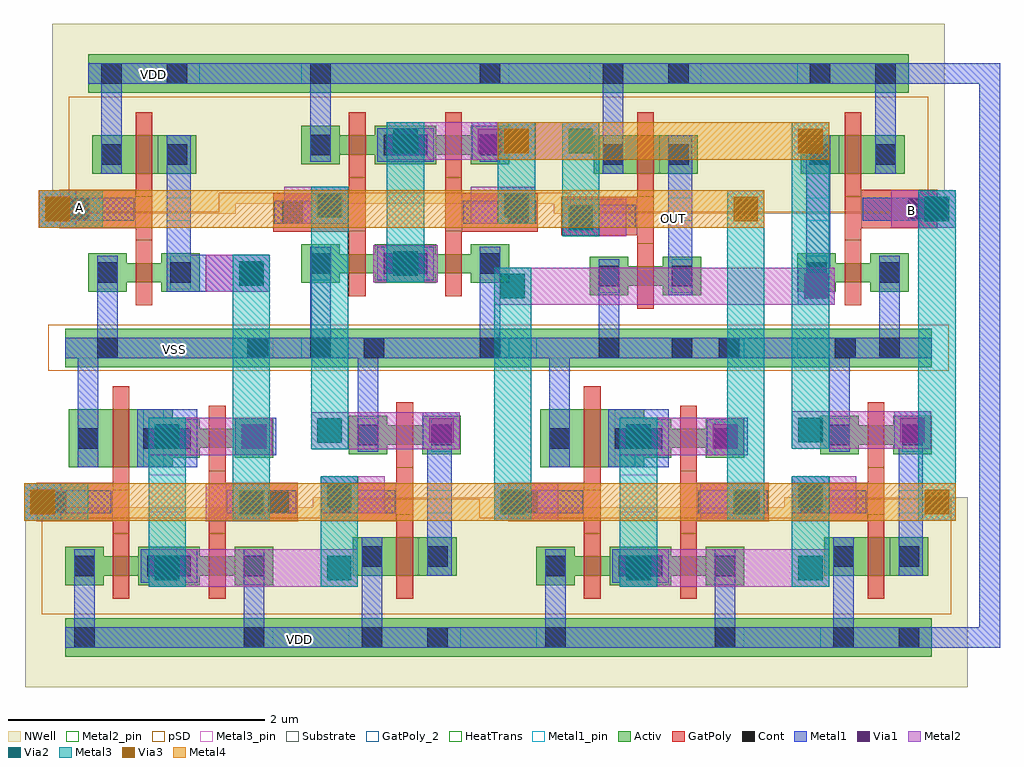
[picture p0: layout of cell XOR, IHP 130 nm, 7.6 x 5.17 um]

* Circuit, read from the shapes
.subckt XOR A B OUT VDD VSS
XM1 n1 B VSS VSS sg13_lv_nmos w=0.45u l=0.13u
XM2 XOR_routed_0/XOR_placement_0/AND_3/VA A VSS VSS sg13_lv_nmos w=0.15u l=0.13u
XM3 XOR_routed_0/XOR_placement_0/AND_3/VOUT XOR_routed_0/XOR_placement_0/AND_3/VA n1 VSS sg13_lv_nmos w=0.15u l=0.13u
XM4 XOR_routed_0/XOR_placement_0/OR_0/VIN XOR_routed_0/XOR_placement_0/OR_0/VA VSS VSS sg13_lv_nmos w=0.15u l=0.13u
XM5 XOR_routed_0/XOR_placement_0/OR_0/VA XOR_routed_0/XOR_placement_0/AND_3/VOUT VSS VSS sg13_lv_nmos w=0.15u l=0.13u
XM6 VSS XOR_routed_0/XOR_placement_0/OR_0/VB XOR_routed_0/XOR_placement_0/OR_0/VIN VSS sg13_lv_nmos w=0.15u l=0.13u
XM7 n2 XOR_routed_0/XOR_placement_0/AND_4/VB VSS VSS sg13_lv_nmos w=0.45u l=0.13u
XM8 OUT XOR_routed_0/XOR_placement_0/OR_0/VIN VSS VSS sg13_lv_nmos w=0.15u l=0.13u
XM9 XOR_routed_0/XOR_placement_0/AND_4/VOUT A n2 VSS sg13_lv_nmos w=0.15u l=0.13u
XM10 VSS B XOR_routed_0/XOR_placement_0/AND_4/VB VSS sg13_lv_nmos w=0.15u l=0.13u
XM11 XOR_routed_0/XOR_placement_0/OR_0/VB XOR_routed_0/XOR_placement_0/AND_4/VOUT VSS VSS sg13_lv_nmos w=0.15u l=0.13u
XM12 XOR_routed_0/XOR_placement_0/AND_3/VOUT B VDD VDD sg13_lv_pmos w=0.15u l=0.13u
XM13 XOR_routed_0/XOR_placement_0/AND_3/VA A VDD VDD sg13_lv_pmos w=0.3u l=0.13u
XM14 VDD XOR_routed_0/XOR_placement_0/AND_3/VA XOR_routed_0/XOR_placement_0/AND_3/VOUT VDD sg13_lv_pmos w=0.15u l=0.13u
XM15 n3 XOR_routed_0/XOR_placement_0/OR_0/VA VDD VDD sg13_lv_pmos w=0.15u l=0.13u
XM16 XOR_routed_0/XOR_placement_0/OR_0/VA XOR_routed_0/XOR_placement_0/AND_3/VOUT VDD VDD sg13_lv_pmos w=0.3u l=0.13u
XM17 XOR_routed_0/XOR_placement_0/OR_0/VIN XOR_routed_0/XOR_placement_0/OR_0/VB n3 VDD sg13_lv_pmos w=0.15u l=0.13u
XM18 XOR_routed_0/XOR_placement_0/AND_4/VOUT XOR_routed_0/XOR_placement_0/AND_4/VB VDD VDD sg13_lv_pmos w=0.15u l=0.13u
XM19 OUT XOR_routed_0/XOR_placement_0/OR_0/VIN VDD VDD sg13_lv_pmos w=0.3u l=0.13u
XM20 VDD A XOR_routed_0/XOR_placement_0/AND_4/VOUT VDD sg13_lv_pmos w=0.15u l=0.13u
XM21 VDD B XOR_routed_0/XOR_placement_0/AND_4/VB VDD sg13_lv_pmos w=0.3u l=0.13u
XM22 XOR_routed_0/XOR_placement_0/OR_0/VB XOR_routed_0/XOR_placement_0/AND_4/VOUT VDD VDD sg13_lv_pmos w=0.3u l=0.13u
.ends

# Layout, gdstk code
from math import pi, radians
import gdstk
lib = gdstk.Library(unit=1e-6, precision=5e-09)
def R(c, l, rs):  # rectangles x0, y0, x1, y1
    for r in rs: c.add(gdstk.rectangle(r[:2], r[2:], *l))
Activ = (1, 0)
GatPoly = (5, 0)
GatPoly_2 = (5, 2)
Cont = (6, 0)
Metal1 = (8, 0)
Metal1_pin = (8, 2)
Metal2 = (10, 0)
Metal2_pin = (10, 2)
pSD = (14, 0)
Via1 = (19, 0)
Via2 = (29, 0)
Metal3 = (30, 0)
Metal3_pin = (30, 2)
NWell = (31, 0)
Substrate = (40, 0)
Via3 = (49, 0)
Metal4 = (50, 0)
HeatTrans = (51, 0)

via2_constraint_2 = lib.new_cell('Via2_constraint$2')
R(via2_constraint_2, Metal2, [(0,-0.055,0.29,0.235)])
R(via2_constraint_2, Via2, [(0.05,-0.005,0.24,0.185)])
R(via2_constraint_2, Metal3, [(0,-0.055,0.29,0.235)])

via1_constraint_2 = lib.new_cell('Via1_constraint$2')
R(via1_constraint_2, Metal1, [(0,-0.055,0.29,0.235)])
R(via1_constraint_2, Metal2, [(0,-0.055,0.29,0.235)])
R(via1_constraint_2, Via1, [(0.05,-0.005,0.24,0.185)])

via1_constraint_1 = lib.new_cell('Via1_constraint$1')
R(via1_constraint_1, Metal1, [(0,0,0.29,0.29)])
R(via1_constraint_1, Metal2, [(0,0,0.29,0.29)])
R(via1_constraint_1, Via1, [(0.05,0.05,0.24,0.24)])

via2_constraint_1 = lib.new_cell('Via2_constraint$1')
R(via2_constraint_1, Metal2, [(0,0,0.29,0.29)])
R(via2_constraint_1, Via2, [(0.05,0.05,0.24,0.24)])
R(via2_constraint_1, Metal3, [(0,0,0.29,0.29)])

nmos = lib.new_cell('nmos')
R(nmos, Activ, [(0,0,0.3,0.3), (0.57,0,0.87,0.3), (0,0.075,0.87,0.225)])
R(nmos, GatPoly, [(0.37,-0.105,0.5,0.405)])
R(nmos, GatPoly_2, [(0.37,-0.105,0.5,0.405)])
R(nmos, Cont, [(0.07,0.07,0.23,0.23), (0.64,0.07,0.8,0.23)])
R(nmos, Metal1, [(0.07,0.02,0.23,0.28), (0.64,0.02,0.8,0.28)])
R(nmos, Metal1_pin, [(0.07,0.02,0.23,0.28), (0.64,0.02,0.8,0.28)])
R(nmos, HeatTrans, [(0.37,-0.105,0.5,0.405)])
nmos.add(gdstk.Label('nmos', (0.435,0.15), layer=63, texttype=0))
nmos.add(gdstk.Label('nmos', (0.435,0.15), layer=51, texttype=0))

pmos = lib.new_cell('pmos')
R(pmos, Activ, [(0,0,0.3,0.3), (0.57,0,0.87,0.3), (0,0.075,0.87,0.225)])
R(pmos, GatPoly, [(0.37,-0.105,0.5,0.405), (0.37,-0.105,0.5,0.405)])
R(pmos, Cont, [(0.07,0.07,0.23,0.23), (0.64,0.07,0.8,0.23)])
R(pmos, Metal1, [(0.07,0.02,0.23,0.28), (0.07,0.02,0.23,0.28), (0.64,0.02,0.8,0.28), (0.64,0.02,0.8,0.28)])
R(pmos, pSD, [(-0.18,-0.225,1.05,0.525)])
R(pmos, NWell, [(-0.345,-0.31,1.18,0.61)])
R(pmos, Substrate, [(0.57,0,0.87,0.3)])
R(pmos, HeatTrans, [(0.37,-0.105,0.5,0.405)])
pmos.add(gdstk.Label('pmos', (0.435,0.15), layer=63, texttype=0))
pmos.add(gdstk.Label('pmos', (0.435,0.15), layer=51, texttype=0))

nor = lib.new_cell('NOR')
R(nor, Activ, [(0.31,-0.065,1.93,0.235), (0.31,2.07,1.93,2.37)])
R(nor, GatPoly, [(0.09,0.99,0.68,1.29), (1.56,0.99,2.15,1.29), (0.68,0.995,0.81,1.41), (1.43,0.995,1.56,1.41)])
R(nor, GatPoly_2, [(0.09,0.99,0.68,1.29), (1.56,0.99,2.15,1.29)])
R(nor, Cont, [(0.38,0.005,0.54,0.165), (1.7,0.005,1.86,0.165), (0.95,0.66,1.29,0.82), (0.16,1.06,0.32,1.22), (1.92,1.06,2.08,1.22), (0.95,1.585,1.29,1.745), (0.38,2.14,0.54,2.3), (1.7,2.14,1.86,2.3)])
R(nor, Metal1, [(0.31,0.005,1.93,0.165), (0.9,0.61,1.34,0.87), (0.1,1.05,0.67,1.23), (1.57,1.05,2.14,1.23), (0.9,1.535,1.34,1.795), (0.105,1.55,0.315,1.84), (0.31,2.14,1.93,2.3)])
R(nor, Metal1_pin, [(0.31,0.005,1.93,0.165), (0.1,1.05,0.67,1.23), (1.57,1.05,2.14,1.23), (0.31,2.14,1.93,2.3)])
R(nor, Metal2, [(0.87,0.595,1.37,0.885)])
R(nor, Metal2_pin, [(0.315,1.55,0.605,1.84)])
R(nor, pSD, [(0.18,-0.095,2.06,0.265)])
R(nor, NWell, [(-0.035,2.125,2.24,2.61)])
nor.add(gdstk.FlexPath([(1.78,1.795),(1.78,2.14)], 0.16, ends="flush", simple_path=True, layer=8, datatype=0))  # Metal1
nor.add(gdstk.FlexPath([(1.78,0.61),(1.78,0.165)], 0.16, ends="flush", simple_path=True, layer=8, datatype=0))  # Metal1
nor.add(gdstk.FlexPath([(0.46,0.61),(0.46,0.26),(0.46,0.165)], 0.16, ends="flush", simple_path=True, layer=8, datatype=0))  # Metal1
nor.add(gdstk.FlexPath([(0.605,1.695),(0.975,1.695)], 0.29, ends="flush", simple_path=True, layer=10, datatype=0))  # Metal2
nor.add(gdstk.FlexPath([(1.12,0.885),(1.12,1.55)], 0.29, ends="flush", simple_path=True, layer=30, datatype=0))  # Metal3
nor.add(gdstk.Reference(via1_constraint_1, (0.975,0.595)))
nor.add(gdstk.Reference(via2_constraint_1, (0.975,0.595)))
nor.add(gdstk.Reference(via2_constraint_1, (0.975,1.55)))
nor.add(gdstk.Reference(via1_constraint_1, (0.315,1.55)))
nor.add(gdstk.Reference(nmos, (1.06,0.59)))
nor.add(gdstk.Reference(nmos, (0.31,0.59)))
nor.add(gdstk.Reference(pmos, (1.06,1.515)))
nor.add(gdstk.Reference(pmos, (0.31,1.515)))
nor.add(gdstk.Label('VDD', (0.605,2.215), layer=8, texttype=25))
nor.add(gdstk.Label('VSS', (0.6,0.055), layer=8, texttype=25))
nor.add(gdstk.Label('VA', (1.99,1.125), layer=8, texttype=25))
nor.add(gdstk.Label('VB', (0.205,1.14), layer=8, texttype=25))
nor.add(gdstk.Label('VOUT', (0.38,1.605), layer=10, texttype=25))

nmos_1 = lib.new_cell('nmos$1')
R(nmos_1, Activ, [(0,-0.025,0.3,0.275), (0.57,-0.025,0.87,0.275), (0,0.05,0.87,0.2)])
R(nmos_1, GatPoly, [(0.37,-0.13,0.5,0.38)])
R(nmos_1, GatPoly_2, [(0.37,-0.13,0.5,0.38)])
R(nmos_1, Cont, [(0.07,0.045,0.23,0.205), (0.64,0.045,0.8,0.205)])
R(nmos_1, Metal1, [(0.07,-0.005,0.23,0.255), (0.64,-0.005,0.8,0.255)])
R(nmos_1, Metal1_pin, [(0.07,-0.005,0.23,0.255), (0.64,-0.005,0.8,0.255)])
R(nmos_1, HeatTrans, [(0.37,-0.13,0.5,0.38)])
nmos_1.add(gdstk.Label('nmos', (0.435,0.125), layer=63, texttype=0))
nmos_1.add(gdstk.Label('nmos', (0.435,0.125), layer=51, texttype=0))

pmos_1 = lib.new_cell('pmos$1')
R(pmos_1, Activ, [(0,0,0.3,0.3), (0,0,0.81,0.3), (0.51,0,0.81,0.3)])
R(pmos_1, GatPoly, [(0.34,-0.18,0.47,0.48), (0.34,-0.18,0.47,0.48)])
R(pmos_1, Cont, [(0.07,0.07,0.23,0.23), (0.58,0.07,0.74,0.23)])
R(pmos_1, Metal1, [(0.07,0,0.23,0.3), (0.07,0,0.23,0.3), (0.58,0,0.74,0.3), (0.58,0,0.74,0.3)])
R(pmos_1, pSD, [(-0.18,-0.3,0.99,0.6)])
R(pmos_1, NWell, [(-0.31,-0.31,1.12,0.61)])
R(pmos_1, Substrate, [(0.51,0,0.81,0.3)])
R(pmos_1, HeatTrans, [(0.34,-0.18,0.47,0.48)])
pmos_1.add(gdstk.Label('pmos', (0.405,0.15), layer=63, texttype=0))
pmos_1.add(gdstk.Label('pmos', (0.405,0.15), layer=51, texttype=0))

inv_d1 = lib.new_cell('INV_D1')
R(inv_d1, Activ, [(0.28,0,1.15,0.3), (0.28,2.135,1.15,2.435)])
R(inv_d1, GatPoly, [(0.06,1.025,0.65,1.325), (0.65,1.11,0.78,1.325)])
R(inv_d1, GatPoly_2, [(0.06,1.025,0.65,1.325)])
R(inv_d1, Cont, [(0.35,0.07,0.51,0.23), (0.92,0.07,1.08,0.23), (0.13,1.095,0.29,1.255), (0.38,2.205,0.54,2.365), (0.89,2.205,1.05,2.365)])
R(inv_d1, Metal1, [(0.28,0.07,1.15,0.23), (0.07,1.085,0.64,1.265), (0.28,2.205,1.15,2.365)])
R(inv_d1, Metal1_pin, [(0.28,0.07,1.15,0.23), (0.07,1.085,0.64,1.265), (0.89,1.14,1.08,1.32), (0.28,2.205,1.15,2.365)])
R(inv_d1, pSD, [(0.15,-0.03,1.28,0.33)])
R(inv_d1, NWell, [(0,2.115,1.43,2.675)])
R(inv_d1, Substrate, [(0.82,1.505,1.12,1.805)])
inv_d1.add(gdstk.FlexPath([(0.985,0.56),(0.985,1.805)], 0.19, ends="flush", simple_path=True, layer=8, datatype=0))  # Metal1
inv_d1.add(gdstk.FlexPath([(0.43,0.84),(0.43,0.23)], 0.16, ends="flush", simple_path=True, layer=8, datatype=0))  # Metal1
inv_d1.add(gdstk.FlexPath([(0.46,1.805),(0.46,2.365)], 0.16, ends="flush", simple_path=True, layer=8, datatype=0))  # Metal1
inv_d1.add(gdstk.FlexPath([(0.715,1.11),(0.715,0.965)], 0.13, ends="flush", simple_path=True, layer=5, datatype=0))  # GatPoly
inv_d1.add(gdstk.Reference(nmos_1, (0.28,0.585)))
inv_d1.add(gdstk.Reference(pmos_1, (0.31,1.505)))
inv_d1.add(gdstk.Label('nmos', (0.715,0.63), layer=63, texttype=0))
inv_d1.add(gdstk.Label('VIN', (0.285,1.12), layer=8, texttype=25))
inv_d1.add(gdstk.Label('VSS', (0.65,0.145), layer=8, texttype=25))
inv_d1.add(gdstk.Label('VOUT', (1.03,1.165), layer=8, texttype=25))
inv_d1.add(gdstk.Label('VDD', (0.655,2.28), layer=8, texttype=25))

c_or = lib.new_cell('OR')
R(c_or, Activ, [(1.93,0.03,2.555,0.33), (1.93,2.165,2.555,2.465)])
R(c_or, Metal1, [(1.93,0.1,2.555,0.26), (1.93,2.235,2.555,2.395)])
R(c_or, Metal2, [(2.63,1.05,2.84,1.34)])
R(c_or, pSD, [(2.06,0,2.425,0.36), (2.11,1.385,2.405,2.135)])
c_or.add(gdstk.FlexPath([(1.925,1.79),(2.34,1.79)], 0.29, ends="flush", simple_path=True, layer=10, datatype=0))  # Metal2
c_or.add(gdstk.FlexPath([(2.485,1.645),(2.485,1.34)], 0.29, ends="flush", simple_path=True, layer=30, datatype=0))  # Metal3
c_or.add(gdstk.Reference(via2_constraint_2, (2.34,1.7)))
c_or.add(gdstk.Reference(via1_constraint_2, (2.34,1.105)))
c_or.add(gdstk.Reference(via2_constraint_2, (2.34,1.105)))
c_or.add(gdstk.Reference(nor, (2.24,0.095), rotation=pi, x_reflection=True))
c_or.add(gdstk.Reference(inv_d1, (2.275,0.03)))
c_or.add(gdstk.Label('VA', (0.36,1.21), layer=8, texttype=25))
c_or.add(gdstk.Label('VB', (1.82,1.205), layer=8, texttype=25))
c_or.add(gdstk.Label('VIN', (2.675,1.17), layer=8, texttype=25))
c_or.add(gdstk.Label('VOUT', (3.3,1.255), layer=8, texttype=25))
c_or.add(gdstk.Label('VSS', (2.855,0.14), layer=8, texttype=25))
c_or.add(gdstk.Label('VDD', (2.86,2.305), layer=8, texttype=25))

nmos_4 = lib.new_cell('nmos$4')
R(nmos_4, Activ, [(0,0,0.3,0.3), (0.57,0,0.87,0.3), (0,0.075,0.87,0.225)])
R(nmos_4, GatPoly, [(0.37,-0.105,0.5,0.405)])
R(nmos_4, GatPoly_2, [(0.37,-0.105,0.5,0.405)])
R(nmos_4, Cont, [(0.07,0.07,0.23,0.23), (0.64,0.07,0.8,0.23)])
R(nmos_4, Metal1, [(0.07,0.02,0.23,0.28), (0.64,0.02,0.8,0.28)])
R(nmos_4, Metal1_pin, [(0.07,0.02,0.23,0.28), (0.64,0.02,0.8,0.28)])
R(nmos_4, HeatTrans, [(0.37,-0.105,0.5,0.405)])
nmos_4.add(gdstk.Label('nmos', (0.435,0.15), layer=63, texttype=0))
nmos_4.add(gdstk.Label('nmos', (0.435,0.15), layer=51, texttype=0))

pmos_1_2 = lib.new_cell('pmos$1$2')
R(pmos_1_2, Activ, [(0,0,0.3,0.3), (0,0,0.81,0.3), (0.51,0,0.81,0.3)])
R(pmos_1_2, GatPoly, [(0.34,-0.18,0.47,0.48), (0.34,-0.18,0.47,0.48)])
R(pmos_1_2, Cont, [(0.07,0.07,0.23,0.23), (0.58,0.07,0.74,0.23)])
R(pmos_1_2, Metal1, [(0.07,0,0.23,0.3), (0.07,0,0.23,0.3), (0.58,0,0.74,0.3), (0.58,0,0.74,0.3)])
R(pmos_1_2, pSD, [(-0.18,-0.3,0.99,0.6)])
R(pmos_1_2, NWell, [(-0.31,-0.31,1.12,0.61)])
R(pmos_1_2, Substrate, [(0.51,0,0.81,0.3)])
R(pmos_1_2, HeatTrans, [(0.34,-0.18,0.47,0.48)])
pmos_1_2.add(gdstk.Label('pmos', (0.405,0.15), layer=63, texttype=0))
pmos_1_2.add(gdstk.Label('pmos', (0.405,0.15), layer=51, texttype=0))

inv_d1_2 = lib.new_cell('INV_D1$2')
R(inv_d1_2, Activ, [(0.28,0,1.15,0.3), (0.28,2.135,1.15,2.435)])
R(inv_d1_2, GatPoly, [(0.06,1.08,0.65,1.38), (0.65,1.11,0.78,1.325)])
R(inv_d1_2, GatPoly_2, [(0.06,1.08,0.65,1.38)])
R(inv_d1_2, Cont, [(0.35,0.07,0.51,0.23), (0.13,1.15,0.29,1.31), (0.38,2.205,0.54,2.365), (0.89,2.205,1.05,2.365)])
R(inv_d1_2, Metal1, [(0.28,0.07,1.15,0.23), (0.07,1.14,0.64,1.32), (0.28,2.205,1.15,2.365)])
R(inv_d1_2, Metal1_pin, [(0.28,0.07,1.15,0.23), (0.07,1.14,0.64,1.32), (0.89,1.14,1.08,1.32), (0.28,2.205,1.15,2.365)])
R(inv_d1_2, pSD, [(0.15,-0.03,1.28,0.33)])
R(inv_d1_2, NWell, [(0,2.115,1.43,2.675)])
R(inv_d1_2, Substrate, [(0.82,1.505,1.12,1.805)])
inv_d1_2.add(gdstk.FlexPath([(0.43,0.865),(0.43,0.07)], 0.16, ends="flush", simple_path=True, layer=8, datatype=0))  # Metal1
inv_d1_2.add(gdstk.FlexPath([(0.46,1.805),(0.46,2.365)], 0.16, ends="flush", simple_path=True, layer=8, datatype=0))  # Metal1
inv_d1_2.add(gdstk.FlexPath([(0.985,0.585),(0.985,1.805)], 0.19, ends="flush", simple_path=True, layer=8, datatype=0))  # Metal1
inv_d1_2.add(gdstk.FlexPath([(0.715,1.11),(0.715,0.99)], 0.13, ends="flush", simple_path=True, layer=5, datatype=0))  # GatPoly
inv_d1_2.add(gdstk.Reference(nmos_4, (0.28,0.585)))
inv_d1_2.add(gdstk.Reference(pmos_1_2, (0.31,1.505)))
inv_d1_2.add(gdstk.Label('nmos', (0.715,0.655), layer=63, texttype=0))
inv_d1_2.add(gdstk.Label('VSS', (0.65,0.145), layer=8, texttype=25))
inv_d1_2.add(gdstk.Label('VIN', (0.285,1.175), layer=8, texttype=25))
inv_d1_2.add(gdstk.Label('VOUT', (1.03,1.165), layer=8, texttype=25))
inv_d1_2.add(gdstk.Label('VDD', (0.655,2.28), layer=8, texttype=25))

nmos_2 = lib.new_cell('nmos$2')
R(nmos_2, Activ, [(0,0.01,0.3,0.31), (0.57,0.01,0.87,0.31), (0,0.085,0.87,0.235)])
R(nmos_2, GatPoly, [(0.37,-0.095,0.5,0.415)])
R(nmos_2, GatPoly_2, [(0.37,-0.095,0.5,0.415)])
R(nmos_2, Cont, [(0.07,0.08,0.23,0.24), (0.64,0.08,0.8,0.24)])
R(nmos_2, Metal1, [(0.07,0.03,0.23,0.29), (0.64,0.03,0.8,0.29)])
R(nmos_2, Metal1_pin, [(0.07,0.03,0.23,0.29), (0.64,0.03,0.8,0.29)])
R(nmos_2, HeatTrans, [(0.37,-0.095,0.5,0.415)])
nmos_2.add(gdstk.Label('nmos', (0.435,0.16), layer=63, texttype=0))
nmos_2.add(gdstk.Label('nmos', (0.435,0.16), layer=51, texttype=0))

pmos_2 = lib.new_cell('pmos$2')
R(pmos_2, Activ, [(0,0.01,0.3,0.31), (0.57,0.01,0.87,0.31), (0,0.085,0.87,0.235)])
R(pmos_2, GatPoly, [(0.37,-0.095,0.5,0.415), (0.37,-0.095,0.5,0.415)])
R(pmos_2, Cont, [(0.07,0.08,0.23,0.24), (0.64,0.08,0.8,0.24)])
R(pmos_2, Metal1, [(0.07,0.03,0.23,0.29), (0.07,0.03,0.23,0.29), (0.64,0.03,0.8,0.29), (0.64,0.03,0.8,0.29)])
R(pmos_2, pSD, [(-0.18,-0.215,1.05,0.535)])
R(pmos_2, NWell, [(-0.31,-0.3,1.18,0.61)])
R(pmos_2, Substrate, [(0.57,0.01,0.87,0.31)])
R(pmos_2, HeatTrans, [(0.37,-0.095,0.5,0.415)])
pmos_2.add(gdstk.Label('pmos', (0.435,0.16), layer=63, texttype=0))
pmos_2.add(gdstk.Label('pmos', (0.435,0.16), layer=51, texttype=0))

via1_constraint_1_1 = lib.new_cell('Via1_constraint$1$1')
R(via1_constraint_1_1, Metal1, [(-0.005,0.015,0.285,0.305)])
R(via1_constraint_1_1, Metal2, [(-0.005,0.015,0.285,0.305)])
R(via1_constraint_1_1, Via1, [(0.045,0.065,0.235,0.255)])

nmos_1_1 = lib.new_cell('nmos$1$1')
R(nmos_1_1, Activ, [(0,0.01,0.3,0.31), (0,0.01,0.81,0.46), (0.51,0.01,0.81,0.31)])
R(nmos_1_1, GatPoly, [(0.34,-0.17,0.47,0.64)])
R(nmos_1_1, GatPoly_2, [(0.34,-0.17,0.47,0.64)])
R(nmos_1_1, Cont, [(0.07,0.155,0.23,0.315), (0.58,0.155,0.74,0.315)])
R(nmos_1_1, Metal1, [(0.07,0.01,0.23,0.46), (0.58,0.01,0.74,0.46)])
R(nmos_1_1, Metal1_pin, [(0.07,0.01,0.23,0.46), (0.58,0.01,0.74,0.46)])
R(nmos_1_1, HeatTrans, [(0.34,-0.17,0.47,0.64)])
nmos_1_1.add(gdstk.Label('nmos', (0.405,0.235), layer=63, texttype=0))
nmos_1_1.add(gdstk.Label('nmos', (0.405,0.235), layer=51, texttype=0))

via2_constraint_1_1 = lib.new_cell('Via2_constraint$1$1')
R(via2_constraint_1_1, Metal2, [(0,0.01,0.29,0.3)])
R(via2_constraint_1_1, Via2, [(0.05,0.06,0.24,0.25)])
R(via2_constraint_1_1, Metal3, [(0,0.01,0.29,0.3)])

nand = lib.new_cell('NAND')
R(nand, Activ, [(0.31,0.04,1.93,0.34), (0.31,2.295,1.93,2.595)])
R(nand, GatPoly, [(0.09,1.24,0.68,1.54), (1.56,1.24,2.12,1.54)])
R(nand, GatPoly_2, [(0.09,1.24,0.68,1.54), (1.56,1.24,2.12,1.54)])
R(nand, Cont, [(1.73,0.11,1.89,0.27), (0.92,0.815,1.29,0.975), (0.16,1.31,0.32,1.47), (1.89,1.31,2.05,1.47), (0.95,1.81,1.29,1.97), (0.38,2.365,0.54,2.525), (1.7,2.365,1.86,2.525)])
R(nand, Metal1, [(0.31,0.11,1.93,0.27), (0.87,0.67,1.34,1.12), (1.925,0.735,1.955,1.025), (0.1,1.3,0.67,1.48), (1.57,1.3,2.11,1.48), (0.9,1.76,1.34,2.02), (0.31,2.365,1.93,2.525)])
R(nand, Metal1_pin, [(0.31,0.11,1.93,0.27), (0.1,1.3,0.67,1.48), (1.57,1.3,2.11,1.48), (0.31,2.365,1.93,2.525)])
R(nand, pSD, [(0.18,0.01,2.06,0.37)])
R(nand, Metal3_pin, [(0.96,1.18,1.25,1.47)])
R(nand, NWell, [(0,2.34,2.24,2.835)])
nand.add(gdstk.FlexPath([(0.49,0.67),(0.49,0.27)], 0.16, ends="flush", simple_path=True, layer=8, datatype=0))  # Metal1
nand.add(gdstk.FlexPath([(0.46,2.02),(0.46,2.365)], 0.16, ends="flush", simple_path=True, layer=8, datatype=0))  # Metal1
nand.add(gdstk.FlexPath([(1.78,2.02),(1.78,2.365)], 0.16, ends="flush", simple_path=True, layer=8, datatype=0))  # Metal1
nand.add(gdstk.FlexPath([(1.495,1.635),(1.495,1.15)], 0.13, ends="flush", simple_path=True, layer=5, datatype=0))  # GatPoly
nand.add(gdstk.FlexPath([(0.745,1.635),(0.745,1.3)], 0.13, ends="flush", simple_path=True, layer=5, datatype=0))  # GatPoly
nand.add(gdstk.FlexPath([(1.635,0.88),(1.25,0.88)], 0.29, ends="flush", simple_path=True, layer=10, datatype=0))  # Metal2
nand.add(gdstk.FlexPath([(1.105,1.025),(1.105,1.76)], 0.29, ends="flush", simple_path=True, layer=30, datatype=0))  # Metal3
nand.add(gdstk.Reference(nmos_2, (1.06,0.735)))
nand.add(gdstk.Reference(pmos_2, (0.31,1.73)))
nand.add(gdstk.Reference(pmos_2, (1.06,1.73)))
nand.add(gdstk.Reference(via1_constraint_1_1, (0.965,1.745)))
nand.add(gdstk.Reference(via1_constraint_1_1, (1.64,0.72)))
nand.add(gdstk.Reference(nmos_1_1, (0.34,0.66)))
nand.add(gdstk.Reference(via2_constraint_1_1, (0.96,0.725)))
nand.add(gdstk.Reference(via2_constraint_1_1, (0.96,1.75)))
nand.add(gdstk.Label('VSS', (1.78,0.195), layer=8, texttype=25))
nand.add(gdstk.Label('VB', (0.265,1.37), layer=8, texttype=25))
nand.add(gdstk.Label('VA', (1.95,1.365), layer=8, texttype=25))
nand.add(gdstk.Label('VDD', (0.4,2.44), layer=8, texttype=25))

nmos_3 = lib.new_cell('nmos$3')
R(nmos_3, Activ, [(0,-0.025,0.3,0.275), (0.57,-0.025,0.87,0.275), (0,0.05,0.87,0.2)])
R(nmos_3, GatPoly, [(0.37,-0.13,0.5,0.38)])
R(nmos_3, GatPoly_2, [(0.37,-0.13,0.5,0.38)])
R(nmos_3, Cont, [(0.07,0.045,0.23,0.205), (0.64,0.045,0.8,0.205)])
R(nmos_3, Metal1, [(0.07,-0.005,0.23,0.255), (0.64,-0.005,0.8,0.255)])
R(nmos_3, Metal1_pin, [(0.07,-0.005,0.23,0.255), (0.64,-0.005,0.8,0.255)])
R(nmos_3, HeatTrans, [(0.37,-0.13,0.5,0.38)])
nmos_3.add(gdstk.Label('nmos', (0.435,0.125), layer=63, texttype=0))
nmos_3.add(gdstk.Label('nmos', (0.435,0.125), layer=51, texttype=0))

pmos_1_1 = lib.new_cell('pmos$1$1')
R(pmos_1_1, Activ, [(0,0,0.3,0.3), (0,0,0.81,0.3), (0.51,0,0.81,0.3)])
R(pmos_1_1, GatPoly, [(0.34,-0.18,0.47,0.48), (0.34,-0.18,0.47,0.48)])
R(pmos_1_1, Cont, [(0.07,0.07,0.23,0.23), (0.58,0.07,0.74,0.23)])
R(pmos_1_1, Metal1, [(0.07,0,0.23,0.3), (0.07,0,0.23,0.3), (0.58,0,0.74,0.3), (0.58,0,0.74,0.3)])
R(pmos_1_1, pSD, [(-0.18,-0.3,0.99,0.6)])
R(pmos_1_1, NWell, [(-0.31,-0.31,1.12,0.61)])
R(pmos_1_1, Substrate, [(0.51,0,0.81,0.3)])
R(pmos_1_1, HeatTrans, [(0.34,-0.18,0.47,0.48)])
pmos_1_1.add(gdstk.Label('pmos', (0.405,0.15), layer=63, texttype=0))
pmos_1_1.add(gdstk.Label('pmos', (0.405,0.15), layer=51, texttype=0))

inv_d1_1 = lib.new_cell('INV_D1$1')
R(inv_d1_1, Activ, [(-0.445,-1.44,0.425,-1.14), (-0.445,0.815,0.425,1.115)])
R(inv_d1_1, GatPoly, [(-0.665,-0.24,-0.075,0.06), (-0.075,-0.21,0.055,0.005)])
R(inv_d1_1, GatPoly_2, [(-0.665,-0.24,-0.075,0.06)])
R(inv_d1_1, Cont, [(-0.33,-1.37,-0.17,-1.21), (-0.595,-0.17,-0.435,-0.01), (-0.345,0.885,-0.185,1.045), (0.165,0.885,0.325,1.045)])
R(inv_d1_1, Metal1, [(-0.445,-1.37,0.425,-1.21), (-0.655,-0.18,-0.085,0), (-0.445,0.885,0.425,1.045)])
R(inv_d1_1, Metal1_pin, [(-0.445,-1.37,0.425,-1.21), (-0.655,-0.18,-0.085,0), (0.165,-0.18,0.355,0), (-0.445,0.885,0.425,1.045)])
R(inv_d1_1, pSD, [(-0.575,-1.47,0.555,-1.11)])
R(inv_d1_1, NWell, [(-0.725,0.795,0.705,1.355)])
R(inv_d1_1, Substrate, [(0.095,0.185,0.395,0.485)])
inv_d1_1.add(gdstk.FlexPath([(-0.295,-0.48),(-0.295,-1.37)], 0.16, ends="flush", simple_path=True, layer=8, datatype=0))  # Metal1
inv_d1_1.add(gdstk.FlexPath([(0.26,-0.76),(0.26,0.485)], 0.19, ends="flush", simple_path=True, layer=8, datatype=0))  # Metal1
inv_d1_1.add(gdstk.FlexPath([(-0.265,0.485),(-0.265,1.045)], 0.16, ends="flush", simple_path=True, layer=8, datatype=0))  # Metal1
inv_d1_1.add(gdstk.FlexPath([(-0.01,-0.21),(-0.01,-0.355)], 0.13, ends="flush", simple_path=True, layer=5, datatype=0))  # GatPoly
inv_d1_1.add(gdstk.Reference(nmos_3, (-0.445,-0.735)))
inv_d1_1.add(gdstk.Reference(pmos_1_1, (-0.415,0.185)))
inv_d1_1.add(gdstk.Label('nmos', (-0.01,-0.69), layer=63, texttype=0))
inv_d1_1.add(gdstk.Label('VIN', (-0.475,-0.14), layer=8, texttype=25))
inv_d1_1.add(gdstk.Label('VOUT', (0.295,-0.155), layer=8, texttype=25))
inv_d1_1.add(gdstk.Label('VSS', (-0.25,-1.285), layer=8, texttype=25))
inv_d1_1.add(gdstk.Label('VDD', (-0.07,0.96), layer=8, texttype=25))

via2_constraint_3 = lib.new_cell('Via2_constraint$3')
R(via2_constraint_3, Metal2, [(0,0,0.29,0.29)])
R(via2_constraint_3, Via2, [(0.05,0.05,0.24,0.24)])
R(via2_constraint_3, Metal3, [(0,0,0.29,0.29)])

via1_constraint_3 = lib.new_cell('Via1_constraint$3')
R(via1_constraint_3, Metal1, [(0,0,0.29,0.29)])
R(via1_constraint_3, Metal2, [(0,0,0.29,0.29)])
R(via1_constraint_3, Via1, [(0.05,0.05,0.24,0.24)])

and_ = lib.new_cell('AND')
R(and_, Activ, [(1.93,0.03,2.52,0.33), (1.93,2.285,2.52,2.585)])
R(and_, Metal1, [(1.93,0.1,2.52,0.26), (1.93,2.355,2.52,2.515)])
R(and_, Metal2, [(2.59,1.18,2.8,1.47)])
R(and_, Metal2_pin, [(2.59,1.18,2.8,1.47)])
R(and_, pSD, [(2.06,0,2.39,0.36), (2.11,1.505,2.37,2.255)])
and_.add(gdstk.FlexPath([(2.3,1.895),(1.25,1.895)], 0.29, ends="flush", simple_path=True, layer=10, datatype=0))  # Metal2
and_.add(gdstk.FlexPath([(2.445,1.75),(2.445,1.47)], 0.29, ends="flush", simple_path=True, layer=30, datatype=0))  # Metal3
and_.add(gdstk.Reference(nand, (0,-0.01)))
and_.add(gdstk.Reference(inv_d1_1, (2.965,1.47)))
and_.add(gdstk.Reference(via2_constraint_3, (2.3,1.75)))
and_.add(gdstk.Reference(via2_constraint_3, (2.3,1.18)))
and_.add(gdstk.Reference(via1_constraint_3, (2.3,1.18)))
and_.add(gdstk.Label('VSS', (2.71,0.155), layer=8, texttype=2))
and_.add(gdstk.Label('VSS', (1.76,0.14), layer=8, texttype=2))
and_.add(gdstk.Label('VOUT', (3.215,1.37), layer=8, texttype=2))
and_.add(gdstk.Label('VA', (1.85,1.37), layer=8, texttype=2))
and_.add(gdstk.Label('VB', (0.46,1.375), layer=8, texttype=2))
and_.add(gdstk.Label('VDD', (0.865,2.41), layer=8, texttype=2))
and_.add(gdstk.Label('VDD', (3.165,2.445), layer=8, texttype=2))
and_.add(gdstk.Label('VSS', (1.77,0.17), layer=8, texttype=25))
and_.add(gdstk.Label('VOUT', (3.26,1.31), layer=8, texttype=25))
and_.add(gdstk.Label('VB', (0.265,1.355), layer=8, texttype=25))
and_.add(gdstk.Label('VA', (2.015,1.36), layer=8, texttype=25))
and_.add(gdstk.Label('VDD', (0.57,2.42), layer=8, texttype=25))
and_.add(gdstk.Label('VOUT', (1.155,1.35), layer=30, texttype=2))

xor_placement = lib.new_cell('XOR_placement')
xor_placement.add(gdstk.Reference(c_or, (1.84,2.465)))
xor_placement.add(gdstk.Reference(inv_d1_2, (0.21,2.495)))
xor_placement.add(gdstk.Reference(inv_d1_2, (7.16,2.495), rotation=pi, x_reflection=True))
xor_placement.add(gdstk.Reference(and_, (0,2.825), x_reflection=True))
xor_placement.add(gdstk.Reference(and_, (3.67,2.825), x_reflection=True))

via1_constraint = lib.new_cell('Via1_constraint')
R(via1_constraint, Metal1, [(0,0,0.29,0.29)])
R(via1_constraint, Metal2, [(0,0,0.29,0.29)])
R(via1_constraint, Via1, [(0.05,0.05,0.24,0.24)])

via2_constraint = lib.new_cell('Via2_constraint')
R(via2_constraint, Metal2, [(0,0,0.29,0.29)])
R(via2_constraint, Via2, [(0.05,0.05,0.24,0.24)])
R(via2_constraint, Metal3, [(0,0,0.29,0.29)])

via3_constraint = lib.new_cell('Via3_constraint')
R(via3_constraint, Metal3, [(0,0,0.29,0.29)])
R(via3_constraint, Via3, [(0.05,0.05,0.24,0.24)])
R(via3_constraint, Metal4, [(0,0,0.29,0.29)])

xor_routed = lib.new_cell('XOR_routed')
R(xor_routed, Activ, [(3.4,0.24,3.99,0.54), (1.37,4.63,2.16,4.93), (5.275,4.63,6.02,4.93)])
R(xor_routed, Cont, [(0.17,1.365,0.33,1.525), (1.9,1.365,2.06,1.525), (3.84,1.365,4,1.525), (5.57,1.365,5.73,1.525)])
R(xor_routed, Metal1, [(0.32,0.31,7.07,0.47), (3.4,0.31,3.99,0.47), (0.32,2.565,7.07,2.725), (0.29,3.635,0.86,3.815), (5.015,3.635,5.205,3.815), (6.53,3.635,7.1,3.815), (0.5,4.7,6.89,4.86), (1.37,4.7,2.16,4.86), (5.275,4.7,6.02,4.86)])
R(xor_routed, Metal1_pin, [(0.29,3.635,0.86,3.815), (5.015,3.635,5.205,3.815), (6.53,3.635,7.1,3.815)])
R(xor_routed, Metal2, [(1.415,1.295,1.625,1.585), (0.29,1.3,0.5,1.59), (3.95,1.3,4.16,1.59), (5.265,1.3,5.475,1.59), (1.415,3.08,1.625,3.37), (0.405,3.58,0.615,3.87), (6.755,3.58,6.965,3.87), (2.025,3.61,2.235,3.9), (3.48,3.61,3.69,3.9)])
R(xor_routed, pSD, [(3.55,0.57,3.81,1.32), (5.425,3.7,5.87,4.6), (1.52,3.85,1.98,4.6)])
R(xor_routed, Metal3, [(0.29,1.3,0.5,1.59), (0.405,3.58,0.615,3.87)])
R(xor_routed, NWell, [(5.555,3.69,5.74,5.17), (1.65,3.765,1.85,5.17)])
xor_routed.add(gdstk.FlexPath([(1.625,3.225),(1.3,3.225)], 0.29, ends="flush", simple_path=True, layer=8, datatype=0))  # Metal1
xor_routed.add(gdstk.FlexPath([(6.025,3.125),(3.95,3.125)], 0.29, ends="flush", simple_path=True, layer=10, datatype=0))  # Metal2
xor_routed.add(gdstk.FlexPath([(2.525,2),(3.105,2)], 0.29, ends="flush", simple_path=True, layer=10, datatype=0))  # Metal2
xor_routed.add(gdstk.FlexPath([(6.27,2.005),(6.775,2.005)], 0.29, ends="flush", simple_path=True, layer=10, datatype=0))  # Metal2
xor_routed.add(gdstk.FlexPath([(1.77,3.08),(1.77,1.585)], 0.29, ends="flush", simple_path=True, layer=30, datatype=0))  # Metal3
xor_routed.add(gdstk.FlexPath([(5.62,3.58),(5.62,1.59)], 0.29, ends="flush", simple_path=True, layer=30, datatype=0))  # Metal3
xor_routed.add(gdstk.FlexPath([(7.11,3.58),(7.11,1.59)], 0.29, ends="flush", simple_path=True, layer=30, datatype=0))  # Metal3
xor_routed.add(gdstk.FlexPath([(3.805,2.98),(3.805,1.59)], 0.29, ends="flush", simple_path=True, layer=30, datatype=0))  # Metal3
xor_routed.add(gdstk.FlexPath([(2.38,3.61),(2.38,2.145)], 0.29, ends="flush", simple_path=True, layer=30, datatype=0))  # Metal3
xor_routed.add(gdstk.FlexPath([(6.125,2.15),(6.125,4.11)], 0.29, ends="flush", simple_path=True, layer=30, datatype=0))  # Metal3
xor_routed.add(gdstk.FlexPath([(3.835,3.9),(3.835,4.11)], 0.29, ends="flush", simple_path=True, layer=30, datatype=0))  # Metal3
xor_routed.add(gdstk.FlexPath([(0.405,3.725),(5.475,3.725)], 0.29, ends="flush", simple_path=True, layer=50, datatype=0))  # Metal4
xor_routed.add(gdstk.FlexPath([(0.29,1.445),(6.965,1.445)], 0.29, ends="flush", simple_path=True, layer=50, datatype=0))  # Metal4
xor_routed.add(gdstk.FlexPath([(3.98,4.255),(5.98,4.255)], 0.29, ends="flush", simple_path=True, layer=50, datatype=0))  # Metal4
xor_routed.add(gdstk.Reference(xor_placement, (0.01,0)))
xor_routed.add(gdstk.Reference(via1_constraint, (1.625,3.08)))
xor_routed.add(gdstk.Reference(via2_constraint, (1.625,3.08)))
xor_routed.add(gdstk.Reference(via2_constraint, (1.625,1.295)))
xor_routed.add(gdstk.Reference(via1_constraint, (1.625,1.295)))
xor_routed.add(gdstk.Reference(via1_constraint, (0.115,3.58)))
xor_routed.add(gdstk.Reference(via2_constraint, (0.115,3.58)))
xor_routed.add(gdstk.Reference(via3_constraint, (0.115,3.58)))
xor_routed.add(gdstk.Reference(via3_constraint, (5.475,3.58)))
xor_routed.add(gdstk.Reference(via2_constraint, (5.475,1.3)))
xor_routed.add(gdstk.Reference(via1_constraint, (5.475,1.3)))
xor_routed.add(gdstk.Reference(via1_constraint, (6.965,3.58)))
xor_routed.add(gdstk.Reference(via2_constraint, (6.965,3.58)))
xor_routed.add(gdstk.Reference(via3_constraint, (6.965,1.3)))
xor_routed.add(gdstk.Reference(via3_constraint, (0,1.3)))
xor_routed.add(gdstk.Reference(via2_constraint, (0,1.3)))
xor_routed.add(gdstk.Reference(via1_constraint, (0,1.3)))
xor_routed.add(gdstk.Reference(via1_constraint, (6.025,2.98)))
xor_routed.add(gdstk.Reference(via2_constraint, (3.66,2.98)))
xor_routed.add(gdstk.Reference(via2_constraint, (3.66,1.3)))
xor_routed.add(gdstk.Reference(via1_constraint, (3.66,1.3)))
xor_routed.add(gdstk.Reference(via1_constraint, (2.235,3.61)))
xor_routed.add(gdstk.Reference(via2_constraint, (2.235,3.61)))
xor_routed.add(gdstk.Reference(via2_constraint, (2.235,1.855)))
xor_routed.add(gdstk.Reference(via1_constraint, (3.105,1.855)))
xor_routed.add(gdstk.Reference(via1_constraint, (6.775,1.86)))
xor_routed.add(gdstk.Reference(via2_constraint, (5.98,1.86)))
xor_routed.add(gdstk.Reference(via3_constraint, (5.98,4.11)))
xor_routed.add(gdstk.Reference(via3_constraint, (3.69,4.11)))
xor_routed.add(gdstk.Reference(via2_constraint, (3.69,3.61)))
xor_routed.add(gdstk.Reference(via1_constraint, (3.69,3.61)))
xor_routed.add(gdstk.Label('B', (6.9,3.705), layer=8, texttype=25))
xor_routed.add(gdstk.Label('A', (0.475,3.735), layer=8, texttype=25))
xor_routed.add(gdstk.Label('VDD', (1.465,4.77), layer=8, texttype=25))
xor_routed.add(gdstk.Label('VDD', (1.405,0.375), layer=8, texttype=25))
xor_routed.add(gdstk.Label('OUT', (5.06,3.66), layer=8, texttype=25))
xor_routed.add(gdstk.Label('VSS', (1.3,2.645), layer=8, texttype=25))

xor = lib.new_cell('XOR')
R(xor, Cont, [(2.38,1.365,2.54,1.525), (1.71,1.86,1.87,2.02)])
R(xor, Metal1, [(0.32,0.31,7.07,0.47), (2.32,1.355,2.89,1.535), (5.99,1.355,6.56,1.535), (0.32,2.565,7.07,2.725), (0.29,3.635,0.86,3.815), (5.015,3.635,5.205,3.815), (6.53,3.635,7.1,3.815), (0.5,4.7,6.89,4.86)])
R(xor, Metal1_pin, [(0.29,3.635,0.86,3.815), (5.015,3.635,5.205,3.815), (6.53,3.635,7.1,3.815)])
xor.add(gdstk.FlexPath([(6.89,4.78),(7.52,4.78),(7.52,0.39),(7.07,0.39)], 0.16, ends="flush", simple_path=True, layer=8, datatype=0))  # Metal1
xor.add(gdstk.Reference(xor_routed, (0,0)))
xor.add(gdstk.Label('OUT', (5.06,3.65), layer=8, texttype=25))
xor.add(gdstk.Label('VDD', (1.01,4.775), layer=8, texttype=25))
xor.add(gdstk.Label('VSS', (1.175,2.635), layer=8, texttype=25))
xor.add(gdstk.Label('VDD', (2.145,0.37), layer=8, texttype=25))
xor.add(gdstk.Label('A', (0.435,3.74), layer=8, texttype=25))
xor.add(gdstk.Label('B', (6.91,3.715), layer=8, texttype=25))

lib.write_gds('XOR.gds')
